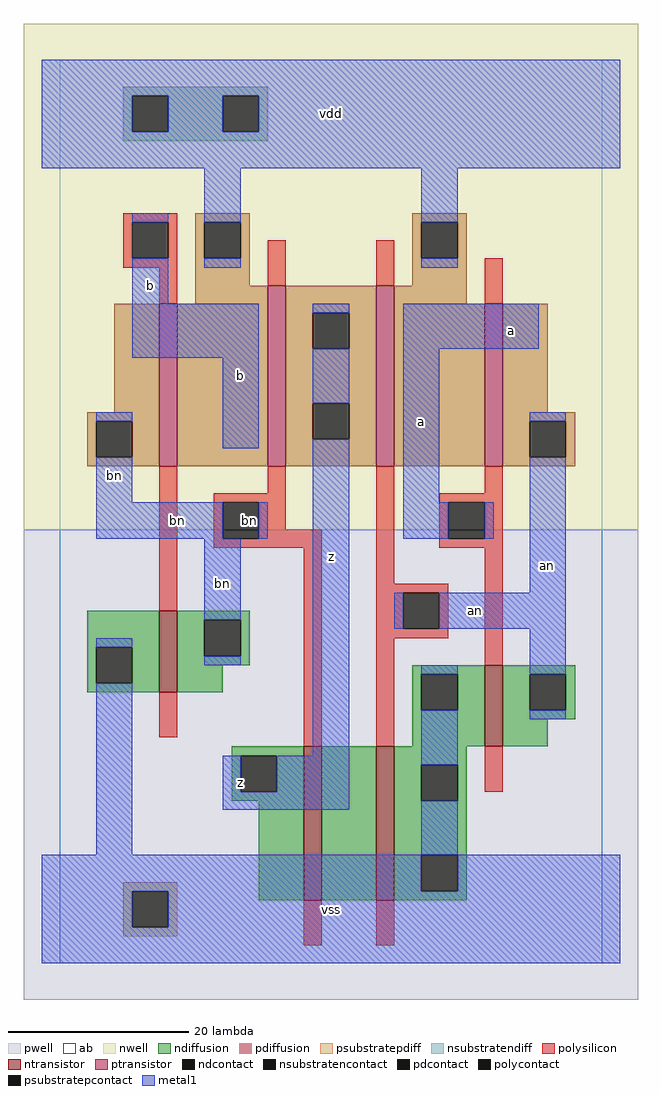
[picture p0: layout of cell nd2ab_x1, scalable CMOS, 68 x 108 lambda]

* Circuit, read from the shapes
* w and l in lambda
.subckt nd2ab_x1 a an b bn vdd vss z
M1 bn b vss vss nfet w=9 l=2
M2 n1 bn z vss nfet w=17 l=2
M3 vss an n1 vss nfet w=17 l=2
M4 an a vss vss nfet w=9 l=2
M5 vdd b bn vdd pfet w=18 l=2
M6 z bn vdd vdd pfet w=20 l=2
M7 vdd an z vdd pfet w=20 l=2
M8 an a vdd vdd pfet w=18 l=2
.ends

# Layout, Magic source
magic
tech scmos
<< ab >>
rect 0 0 60 100
<< pwell >>
rect -4 -4 64 48
<< nwell >>
rect -4 48 64 104
<< polysilicon >>
rect 7 82 13 83
rect 7 78 8 82
rect 12 78 13 82
rect 7 77 13 78
rect 11 73 13 77
rect 23 75 25 80
rect 35 75 37 80
rect 47 73 49 78
rect 11 39 13 55
rect 23 52 25 55
rect 17 51 25 52
rect 17 47 18 51
rect 22 48 25 51
rect 22 47 29 48
rect 17 46 29 47
rect 11 25 13 30
rect 27 24 29 46
rect 35 42 37 55
rect 47 52 49 55
rect 42 51 49 52
rect 42 47 43 51
rect 47 47 49 51
rect 42 46 49 47
rect 35 41 43 42
rect 35 37 38 41
rect 42 37 43 41
rect 35 36 43 37
rect 35 24 37 36
rect 47 33 49 46
rect 47 19 49 24
rect 27 2 29 7
rect 35 2 37 7
<< ndiffusion >>
rect 3 35 11 39
rect 3 31 4 35
rect 8 31 11 35
rect 3 30 11 31
rect 13 38 21 39
rect 13 34 16 38
rect 20 34 21 38
rect 13 33 21 34
rect 13 30 18 33
rect 39 32 47 33
rect 39 28 40 32
rect 44 28 47 32
rect 39 24 47 28
rect 49 32 57 33
rect 49 28 52 32
rect 56 28 57 32
rect 49 27 57 28
rect 49 24 54 27
rect 19 23 27 24
rect 19 19 20 23
rect 24 19 27 23
rect 19 18 27 19
rect 22 7 27 18
rect 29 7 35 24
rect 37 22 45 24
rect 37 18 40 22
rect 44 18 45 22
rect 37 12 45 18
rect 37 8 40 12
rect 44 8 45 12
rect 37 7 45 8
<< pdiffusion >>
rect 15 82 21 83
rect 15 78 16 82
rect 20 78 21 82
rect 39 82 45 83
rect 15 75 21 78
rect 39 78 40 82
rect 44 78 45 82
rect 39 75 45 78
rect 15 73 23 75
rect 6 61 11 73
rect 3 60 11 61
rect 3 56 4 60
rect 8 56 11 60
rect 3 55 11 56
rect 13 55 23 73
rect 25 72 35 75
rect 25 68 28 72
rect 32 68 35 72
rect 25 62 35 68
rect 25 58 28 62
rect 32 58 35 62
rect 25 55 35 58
rect 37 73 45 75
rect 37 55 47 73
rect 49 61 54 73
rect 49 60 57 61
rect 49 56 52 60
rect 56 56 57 60
rect 49 55 57 56
<< metal1 >>
rect -2 96 62 100
rect -2 92 8 96
rect 12 92 18 96
rect 22 92 62 96
rect -2 88 62 92
rect 8 82 12 83
rect 8 73 12 78
rect 16 82 20 88
rect 16 77 20 78
rect 40 82 44 88
rect 40 77 44 78
rect 8 67 22 73
rect 4 60 8 61
rect 18 57 22 67
rect 28 72 32 73
rect 28 62 32 68
rect 4 51 8 56
rect 4 47 18 51
rect 22 47 23 51
rect 16 38 20 47
rect 4 35 8 36
rect 16 33 20 34
rect 4 12 8 31
rect 28 23 32 58
rect 38 68 53 73
rect 38 51 42 68
rect 52 60 56 61
rect 38 47 43 51
rect 47 47 48 51
rect 52 41 56 56
rect 37 37 38 41
rect 42 37 56 41
rect 18 19 20 23
rect 24 19 32 23
rect 18 17 32 19
rect 40 32 44 33
rect 40 22 44 28
rect 52 32 56 37
rect 52 27 56 28
rect 40 12 44 18
rect -2 8 40 12
rect 44 8 62 12
rect -2 4 8 8
rect 12 4 62 8
rect -2 0 62 4
<< ntransistor >>
rect 11 30 13 39
rect 47 24 49 33
rect 27 7 29 24
rect 35 7 37 24
<< ptransistor >>
rect 11 55 13 73
rect 23 55 25 75
rect 35 55 37 75
rect 47 55 49 73
<< polycontact >>
rect 8 78 12 82
rect 18 47 22 51
rect 43 47 47 51
rect 38 37 42 41
<< ndcontact >>
rect 4 31 8 35
rect 16 34 20 38
rect 40 28 44 32
rect 52 28 56 32
rect 20 19 24 23
rect 40 18 44 22
rect 40 8 44 12
<< pdcontact >>
rect 16 78 20 82
rect 40 78 44 82
rect 4 56 8 60
rect 28 68 32 72
rect 28 58 32 62
rect 52 56 56 60
<< psubstratepcontact >>
rect 8 4 12 8
<< nsubstratencontact >>
rect 8 92 12 96
rect 18 92 22 96
<< psubstratepdiff >>
rect 7 8 13 9
rect 7 4 8 8
rect 12 4 13 8
rect 7 3 13 4
<< nsubstratendiff >>
rect 7 96 23 97
rect 7 92 8 96
rect 12 92 18 96
rect 22 92 23 96
rect 7 91 23 92
<< labels >>
rlabel polycontact 21 49 21 49 6 bn
rlabel metal1 6 54 6 54 6 bn
rlabel metal1 10 75 10 75 6 b
rlabel metal1 20 20 20 20 6 z
rlabel metal1 18 42 18 42 6 bn
rlabel metal1 13 49 13 49 6 bn
rlabel metal1 20 65 20 65 6 b
rlabel metal1 30 6 30 6 6 vss
rlabel metal1 30 45 30 45 6 z
rlabel metal1 40 60 40 60 6 a
rlabel metal1 30 94 30 94 6 vdd
rlabel metal1 46 39 46 39 6 an
rlabel metal1 54 44 54 44 6 an
rlabel metal1 50 70 50 70 6 a
<< end >>
